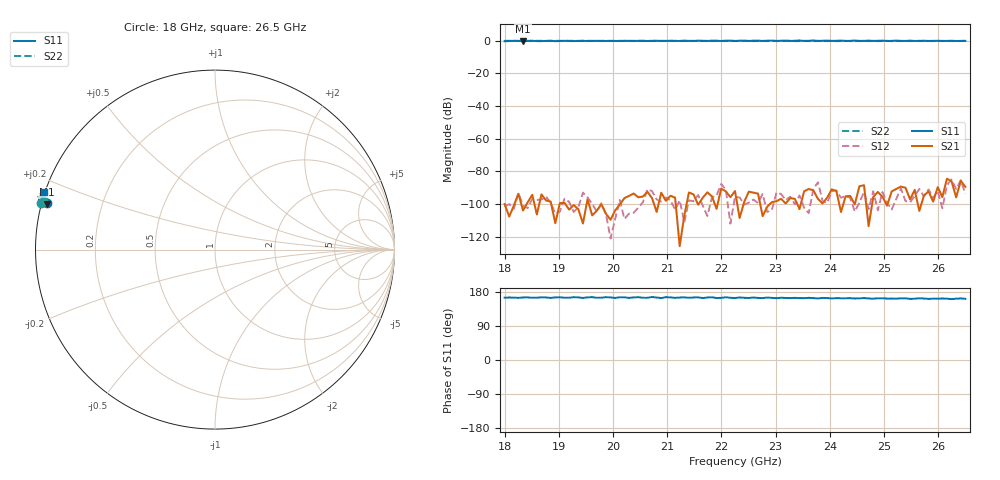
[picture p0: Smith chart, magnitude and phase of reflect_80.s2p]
# GHZ S RI R 50.0
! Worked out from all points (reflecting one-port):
!   101 points, 18 GHz to 26.5 GHz, reference 50 ohm
!   lowest |S11| = -0.3 dB at 18.34 GHz (marker M1), VSWR 69.06, Z = 0.737 + j6.6 ohm
!   phase of S11 starts at 164 deg and turns -3 deg over the sweep
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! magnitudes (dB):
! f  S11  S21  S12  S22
! 18 GHz  -0.2  -99.9  -101.4  0.0
! 18.17 GHz  0.0  -100.9  -102.8  0.0
! 18.34 GHz  -0.3  -103.9  -101.0  0.0
! 18.51 GHz  0.1  -94.3  -96.8  0.0
! 18.68 GHz  -0.2  -94.0  -97.1  0.0
! 19.45 GHz  0.0  -111.9  -92.9  0.0
! 20.89 GHz  -0.1  -93.0  -98.4  0.0
! 21.57 GHz  0.1  -100.3  -94.4  -0.1
! 22.25 GHz  -0.1  -92.0  -95.6  -0.1
! 22.68 GHz  0.2  -93.5  -99.3  -0.1
! 22.76 GHz  -0.1  -107.3  -93.8  0.0
! 22.93 GHz  0.2  -98.7  -103.5  -0.1
! 23.27 GHz  0.0  -96.2  -95.4  0.0
! 23.44 GHz  0.2  -103.0  -94.6  -0.1
! 23.52 GHz  -0.1  -92.1  -102.2  0.0
! 23.7 GHz  0.2  -91.5  -90.8  -0.2
! 23.78 GHz  0.0  -96.8  -86.6  0.0
! 24.29 GHz  0.0  -95.2  -94.9  0.0
! 24.46 GHz  0.2  -100.1  -104.5  -0.2
! 24.55 GHz  0.0  -89.0  -98.9  0.0
! 25.14 GHz  0.0  -92.2  -103.3  -0.2
! 26.5 GHz  0.0  -89.4  -93.7  -0.1
